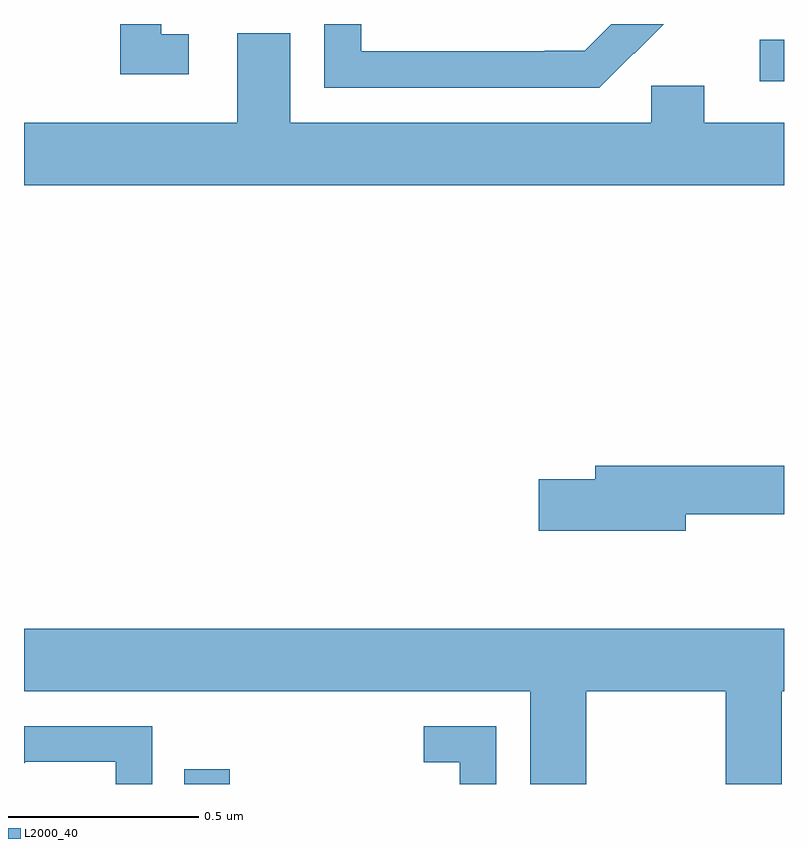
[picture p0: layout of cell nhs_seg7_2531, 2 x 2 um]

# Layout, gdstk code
import gdstk
lib = gdstk.Library(unit=1e-6, precision=1e-09)
def R(c, l, rs):  # rectangles x0, y0, x1, y1
    for r in rs: c.add(gdstk.rectangle(r[:2], r[2:], *l))
def P(c, l, *ps):  # polygons
    for p in ps: c.add(gdstk.Polygon(p, *l))
L2000_40 = (2000, 40)

nhs_seg7_2531 = lib.new_cell('nhs_seg7_2531')
R(nhs_seg7_2531, L2000_40, [(146.422,1039,146.541,1039.039), (147.936,1040.85,148,1040.959)])
P(nhs_seg7_2531, L2000_40, [(146.434,1040.973),(146.361,1040.973),(146.361,1041),(146.253,1041),(146.253,1040.868),(146.434,1040.868)],
  [(147.605,1040.923),(147.606,1040.922),(147.684,1041),(147.546,1041),(147.475,1040.929),(147.371,1040.929),(147.371,1040.928),(146.887,1040.928),(146.887,1041),(146.79,1041),(146.79,1040.832),(147.514,1040.832)],
  [(148,1040.74),(147.79,1040.74),(147.79,1040.838),(147.651,1040.838),(147.651,1040.74),(146.701,1040.74),(146.701,1040.976),(146.561,1040.976),(146.561,1040.74),(146,1040.74),(146,1040.576),(148,1040.576)],
  [(147.742,1039.71),(148,1039.71),(148,1039.838),(147.503,1039.838),(147.503,1039.802),(147.354,1039.802),(147.354,1039.667),(147.742,1039.667)],
  [(147.48,1039.244),(147.847,1039.244),(147.847,1039),(147.994,1039),(147.994,1039.244),(148,1039.244),(148,1039.408),(146,1039.408),(146,1039.244),(147.332,1039.244),(147.332,1039),(147.48,1039)],
  [(146.337,1039.152),(146,1039.152),(146,1039.055),(146.004,1039.059),(146.241,1039.059),(146.241,1039),(146.337,1039)],
  [(147.243,1039.152),(147.052,1039.152),(147.052,1039.057),(147.147,1039.057),(147.147,1039),(147.243,1039)])

lib.write_gds('nhs_seg7_2531.gds')
